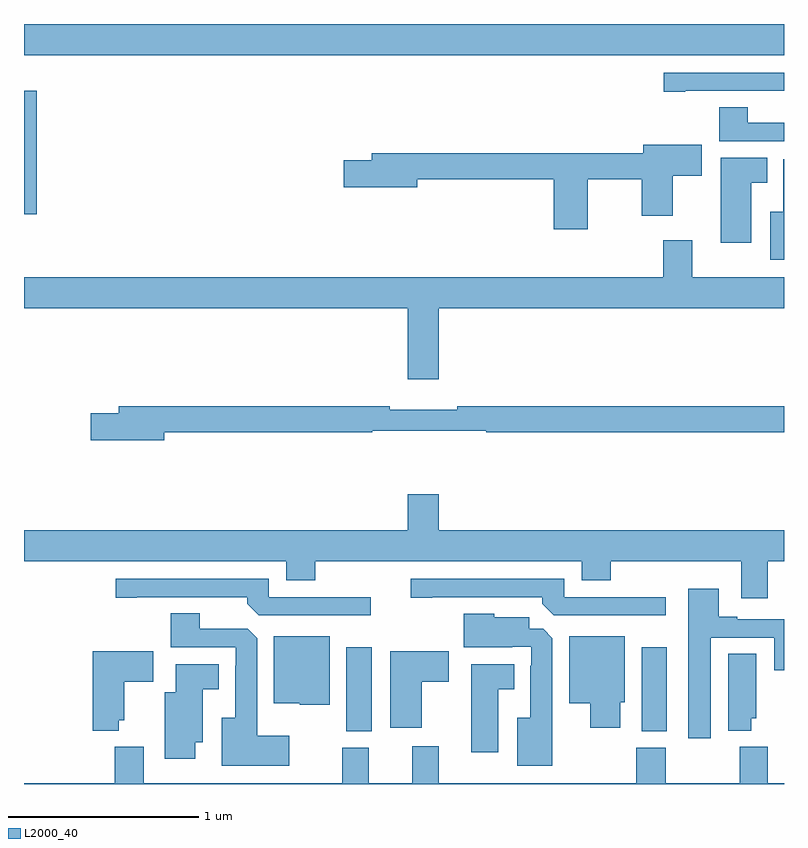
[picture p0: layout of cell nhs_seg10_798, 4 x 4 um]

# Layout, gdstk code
import gdstk
lib = gdstk.Library(unit=1e-6, precision=1e-09)
def R(c, l, rs):  # rectangles x0, y0, x1, y1
    for r in rs: c.add(gdstk.rectangle(r[:2], r[2:], *l))
def P(c, l, *ps):  # polygons
    for p in ps: c.add(gdstk.Polygon(p, *l))
L2000_40 = (2000, 40)

nhs_seg10_798 = lib.new_cell('nhs_seg10_798')
R(nhs_seg10_798, L2000_40, [(152.696,1276.777,152.83,1277.221), (154.25,1276.777,154.384,1277.221), (151,1279.5,151.067,1280.149), (151,1280.336,155,1280.5)])
P(nhs_seg10_798, L2000_40, [(154.48,1280.148),(155,1280.148),(155,1280.244),(154.368,1280.244),(154.368,1280.143),(154.48,1280.143)],
  [(155,1279.98),(154.81,1279.98),(154.81,1280.063),(154.658,1280.063),(154.658,1279.884),(155,1279.884)],
  [(153.966,1279.684),(154.252,1279.684),(154.252,1279.491),(154.414,1279.491),(154.414,1279.702),(154.567,1279.702),(154.567,1279.864),(154.259,1279.864),(154.259,1279.82),(152.831,1279.82),(152.831,1279.784),(152.682,1279.784),(152.682,1279.642),(153.07,1279.642),(153.07,1279.684),(153.788,1279.684),(153.788,1279.419),(153.966,1279.419)],
  [(154.828,1279.664),(154.912,1279.664),(154.912,1279.795),(154.667,1279.795),(154.667,1279.35),(154.828,1279.35)],
  [(155,1279.787),(154.997,1279.787),(154.997,1279.513),(154.928,1279.513),(154.928,1279.259),(155,1279.259)],
  [(153.184,1279.004),(155,1279.004),(155,1279.168),(154.516,1279.168),(154.516,1279.363),(154.364,1279.363),(154.364,1279.168),(151,1279.168),(151,1279.004),(153.02,1279.004),(153.02,1278.63),(153.184,1278.63)],
  [(151.738,1278.352),(152.834,1278.352),(152.834,1278.36),(153.434,1278.36),(153.434,1278.352),(155,1278.352),(155,1278.488),(153.28,1278.488),(153.28,1278.469),(152.924,1278.469),(152.924,1278.488),(151.499,1278.488),(151.499,1278.452),(151.35,1278.452),(151.35,1278.31),(151.738,1278.31)],
  [(154.915,1277.672),(155,1277.672),(155,1277.836),(153.184,1277.836),(153.184,1278.025),(153.02,1278.025),(153.02,1277.836),(151,1277.836),(151,1277.672),(152.381,1277.672),(152.381,1277.573),(152.534,1277.573),(152.534,1277.672),(153.935,1277.672),(153.935,1277.573),(154.088,1277.573),(154.088,1277.672),(154.775,1277.672),(154.775,1277.478),(154.915,1277.478)],
  [(152.824,1277.484),(152.289,1277.484),(152.289,1277.58),(151.482,1277.58),(151.482,1277.479),(151.594,1277.479),(151.594,1277.484),(152.174,1277.484),(152.174,1277.45),(152.235,1277.388),(152.824,1277.388)],
  [(154.378,1277.484),(153.843,1277.484),(153.843,1277.58),(153.036,1277.58),(153.036,1277.479),(153.148,1277.479),(153.148,1277.484),(153.728,1277.484),(153.728,1277.45),(153.789,1277.388),(154.378,1277.388)],
  [(154.615,1277.271),(154.949,1277.271),(154.949,1277.1),(155,1277.1),(155,1277.367),(154.753,1277.367),(154.753,1277.38),(154.657,1277.38),(154.657,1277.527),(154.496,1277.527),(154.496,1276.74),(154.615,1276.74)],
  [(152.395,1276.753),(152.227,1276.753),(152.227,1277.267),(152.178,1277.316),(151.924,1277.316),(151.924,1277.399),(151.772,1277.399),(151.772,1277.22),(152.115,1277.22),(152.115,1277.123),(152.111,1277.123),(152.111,1276.849),(152.042,1276.849),(152.042,1276.595),(152.395,1276.595)],
  [(153.781,1277.267),(153.732,1277.316),(153.658,1277.316),(153.658,1277.377),(153.474,1277.377),(153.474,1277.395),(153.314,1277.395),(153.314,1277.219),(153.569,1277.219),(153.569,1277.223),(153.669,1277.223),(153.669,1277.123),(153.665,1277.123),(153.665,1276.849),(153.596,1276.849),(153.596,1276.595),(153.781,1276.595)],
  [(152.608,1277.278),(152.315,1277.278),(152.315,1276.925),(152.451,1276.925),(152.451,1276.916),(152.608,1276.916)],
  [(154.138,1276.929),(154.162,1276.929),(154.162,1277.278),(153.869,1277.278),(153.869,1276.925),(153.98,1276.925),(153.98,1276.797),(154.138,1276.797)],
  [(153.094,1277.038),(153.235,1277.038),(153.235,1277.2),(152.927,1277.2),(152.927,1276.797),(153.094,1276.797)],
  [(151.498,1276.835),(151.528,1276.835),(151.528,1277.038),(151.681,1277.038),(151.681,1277.2),(151.361,1277.2),(151.361,1276.781),(151.498,1276.781)],
  [(154.828,1276.845),(154.855,1276.845),(154.855,1277.186),(154.706,1277.186),(154.706,1276.781),(154.828,1276.781)],
  [(151.9,1276.721),(151.942,1276.721),(151.942,1277),(152.026,1277),(152.026,1277.131),(151.799,1277.131),(151.799,1276.984),(151.742,1276.984),(151.742,1276.632),(151.9,1276.632)],
  [(153.496,1277),(153.58,1277),(153.58,1277.131),(153.353,1277.131),(153.353,1276.668),(153.496,1276.668)],
  [(155,1276.504),(154.915,1276.504),(154.915,1276.696),(154.768,1276.696),(154.768,1276.504),(154.377,1276.504),(154.377,1276.692),(154.222,1276.692),(154.222,1276.504),(153.184,1276.504),(153.184,1276.699),(153.044,1276.699),(153.044,1276.504),(152.815,1276.504),(152.815,1276.692),(152.675,1276.692),(152.675,1276.504),(151.63,1276.504),(151.63,1276.696),(151.478,1276.696),(151.478,1276.504),(151,1276.504),(151,1276.5),(155,1276.5)])

lib.write_gds('nhs_seg10_798.gds')
